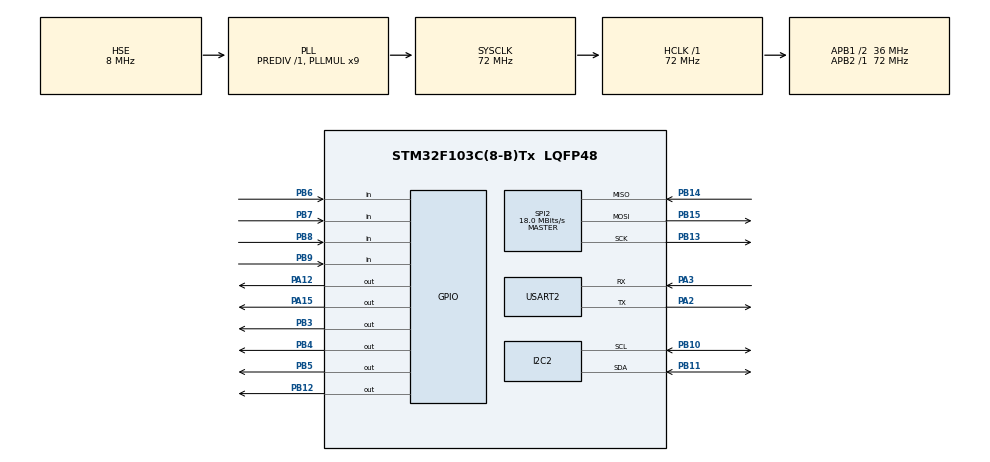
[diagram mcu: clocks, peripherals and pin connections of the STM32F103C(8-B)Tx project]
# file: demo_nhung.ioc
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FREERTOS.Tasks01=fingerprint,0,256,StartReadFinger,Default,NULL,Dynamic,NULL,NULL;rfid,-3,256,StartRFID,Default,NULL,Dynamic,NULL,NULL;keyboard,-3,128,StartTask04,Default,NULL,Dynamic,NULL,NULL
FREERTOS.configUSE_NEWLIB_REENTRANT=1
Mcu.Family=STM32F1
Mcu.Name=STM32F103C(8-B)Tx
Mcu.Package=LQFP48
NVIC.PriorityGroup=NVIC_PRIORITYGROUP_4
PA12.Signal=GPIO_Output
PA13.Mode=Serial_Wire
PA13.Signal=SYS_JTMS-SWDIO
PA14.Mode=Serial_Wire
PA14.Signal=SYS_JTCK-SWCLK
PA15.Signal=GPIO_Output
PA2.Mode=Asynchronous
PA2.Signal=USART2_TX
PA3.Mode=Asynchronous
PA3.Signal=USART2_RX
PB10.Mode=I2C
PB10.Signal=I2C2_SCL
PB11.Mode=I2C
PB11.Signal=I2C2_SDA
PB12.Signal=GPIO_Output
PB13.Mode=Full_Duplex_Master
PB13.Signal=SPI2_SCK
PB14.Mode=Full_Duplex_Master
PB14.Signal=SPI2_MISO
PB15.Mode=Full_Duplex_Master
PB15.Signal=SPI2_MOSI
PB3.Signal=GPIO_Output
PB4.Signal=GPIO_Output
PB5.Signal=GPIO_Output
PB6.Signal=GPIO_Input
PB7.Signal=GPIO_Input
PB8.Signal=GPIO_Input
PB9.Signal=GPIO_Input
PD0-OSC_IN.Mode=HSE-External-Oscillator
PD0-OSC_IN.Signal=RCC_OSC_IN
PD1-OSC_OUT.Mode=HSE-External-Oscillator
PD1-OSC_OUT.Signal=RCC_OSC_OUT
ProjectManager.HeapSize=0x200
ProjectManager.StackSize=0x400
ProjectManager.TargetToolchain=STM32CubeIDE
RCC.AHBFreq_Value=72000000
RCC.APB1CLKDivider=RCC_HCLK_DIV2
RCC.APB1Freq_Value=36000000
RCC.APB1TimFreq_Value=72000000
RCC.APB2Freq_Value=72000000
RCC.APB2TimFreq_Value=72000000
RCC.HCLKFreq_Value=72000000
RCC.PLLMUL=RCC_PLL_MUL9
RCC.PLLSourceVirtual=RCC_PLLSOURCE_HSE
RCC.SYSCLKFreq_VALUE=72000000
RCC.SYSCLKSource=RCC_SYSCLKSOURCE_PLLCLK
RCC.USBFreq_Value=72000000
SPI2.CalculateBaudRate=18.0 MBits/s
SPI2.Direction=SPI_DIRECTION_2LINES
SPI2.Mode=SPI_MODE_MASTER
SPI2.VirtualType=VM_MASTER
USART2.VirtualMode=VM_ASYNC
VP_FREERTOS_VS_CMSIS_V1.Mode=CMSIS_V1
board=custom

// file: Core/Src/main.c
/* USER CODE BEGIN Header */
/**
  ******************************************************************************
  * @file           : main.c
  * @brief          : Main program body
  ******************************************************************************
  * @attention
  *
  * Copyright (c) 2024 STMicroelectronics.
  * All rights reserved.
  *
  * This software is licensed under terms that can be found in the LICENSE file
  * in the root directory of this software component.
  * If no LICENSE file comes with this software, it is provided AS-IS.
  *
  ******************************************************************************
  */
/* USER CODE END Header */
#include "main.h"
#include "cmsis_os.h"
#include "string.h"
#include "i2c-lcd.h"
#include "rc522.h"

/* USER CODE BEGIN PTD */

#define R1_PORT GPIOA
#define R1_PIN GPIO_PIN_15

#define R2_PORT GPIOB
#define R2_PIN GPIO_PIN_3

#define R3_PORT GPIOB
#define R3_PIN GPIO_PIN_4

#define R4_PORT GPIOB
#define R4_PIN GPIO_PIN_5

#define C1_PORT GPIOB
#define C1_PIN GPIO_PIN_6

#define C2_PORT GPIOB
#define C2_PIN GPIO_PIN_7

#define C3_PORT GPIOB
#define C3_PIN GPIO_PIN_8

#define C4_PORT GPIOB
#define C4_PIN GPIO_PIN_9

/* USER CODE END PTD */

I2C_HandleTypeDef hi2c2;

SPI_HandleTypeDef hspi2;

UART_HandleTypeDef huart2;

osThreadId rfidHandle;
osThreadId keyboardHandle;

void SystemClock_Config(void);
static void MX_GPIO_Init(void);
static void MX_SPI2_Init(void);
static void MX_USART2_UART_Init(void);
static void MX_I2C2_Init(void);
void StartRFID(void const * argument);
void StartTask04(void const * argument);

/* USER CODE BEGIN 0 */
char read_keypad (void)
{
	/* Make ROW 1 LOW and all other ROWs HIGH */
	HAL_GPIO_WritePin (R1_PORT, R1_PIN, GPIO_PIN_RESET);  //Pull the R1 low
	HAL_GPIO_WritePin (R2_PORT, R2_PIN, GPIO_PIN_SET);  // Pull the R2 High
	HAL_GPIO_WritePin (R3_PORT, R3_PIN, GPIO_PIN_SET);  // Pull the R3 High
	HAL_GPIO_WritePin (R4_PORT, R4_PIN, GPIO_PIN_SET);  // Pull the R4 High

	if ((HAL_GPIO_ReadPin (C1_PORT, C1_PIN))==0)   // if the Col 1 is low
	{
		while ((HAL_GPIO_ReadPin (C1_PORT, C1_PIN))==0);   // wait till the button is pressed
		return '1';
	}

	if ((HAL_GPIO_ReadPin (C2_PORT, C2_PIN))==0)   // if the Col 2 is low
	{
		while ((HAL_GPIO_ReadPin (C2_PORT, C2_PIN))==0);   // wait till the button is pressed
		return '2';
	}

	if ((HAL_GPIO_ReadPin (C3_PORT, C3_PIN))==0)   // if the Col 3 is low
	{
		while ((HAL_GPIO_ReadPin (C3_PORT, C3_PIN))==0);   // wait till the button is pressed
		return '3';
	}

	if ((HAL_GPIO_ReadPin (C4_PORT, C4_PIN))==0)   // if the Col 4 is low
	{
		while ((HAL_GPIO_ReadPin (C4_PORT, C4_PIN))==0);   // wait till the button is pressed
		return 'A';
	}

	/* Make ROW 2 LOW and all other ROWs HIGH */
	HAL_GPIO_WritePin (R1_PORT, R1_PIN, GPIO_PIN_SET);  //Pull the R1 low
	HAL_GPIO_WritePin (R2_PORT, R2_PIN, GPIO_PIN_RESET);  // Pull the R2 High
	HAL_GPIO_WritePin (R3_PORT, R3_PIN, GPIO_PIN_SET);  // Pull the R3 High
	HAL_GPIO_WritePin (R4_PORT, R4_PIN, GPIO_PIN_SET);  // Pull the R4 High

	if ((HAL_GPIO_ReadPin (C1_PORT, C1_PIN))==0)   // if the Col 1 is low
	{
		while ((HAL_GPIO_ReadPin (C1_PORT, C1_PIN))==0);   // wait till the button is pressed
		return '4';
	}

	if ((HAL_GPIO_ReadPin (C2_PORT, C2_PIN))==0)   // if the Col 2 is low
	{
		while ((HAL_GPIO_ReadPin (C2_PORT, C2_PIN))==0);   // wait till the button is pressed
		return '5';
	}

	if ((HAL_GPIO_ReadPin (C3_PORT, C3_PIN))==0)   // if the Col 3 is low
	{
		while ((HAL_GPIO_ReadPin (C3_PORT, C3_PIN))==0);   // wait till the button is pressed
		return '6';
	}

	if ((HAL_GPIO_ReadPin (C4_PORT, C4_PIN))==0)   // if the Col 4 is low
	{
		while ((HAL_GPIO_ReadPin (C4_PORT, C4_PIN))==0);   // wait till the button is pressed
		return 'B';
	}

	/* Make ROW 3 LOW and all other ROWs HIGH */
	HAL_GPIO_WritePin (R1_PORT, R1_PIN, GPIO_PIN_SET);  //Pull the R1 low
	HAL_GPIO_WritePin (R2_PORT, R2_PIN, GPIO_PIN_SET);  // Pull the R2 High
	HAL_GPIO_WritePin (R3_PORT, R3_PIN, GPIO_PIN_RESET);  // Pull the R3 High
	HAL_GPIO_WritePin (R4_PORT, R4_PIN, GPIO_PIN_SET);  // Pull the R4 High

	if ((HAL_GPIO_ReadPin (C1_PORT, C1_PIN))==0)   // if the Col 1 is low
	{
		while ((HAL_GPIO_ReadPin (C1_PORT, C1_PIN))==0);   // wait till the button is pressed
		return '7';
	}

	if ((HAL_GPIO_ReadPin (C2_PORT, C2_PIN))==0)   // if the Col 2 is low
	{
		while ((HAL_GPIO_ReadPin (C2_PORT, C2_PIN)));   // wait till the button is pressed
		return '8';
	}

	if ((HAL_GPIO_ReadPin (C3_PORT, C3_PIN))==0)   // if the Col 3 is low
	{
		while ((HAL_GPIO_ReadPin (C3_PORT, C3_PIN))==0);   // wait till the button is pressed
		return '9';
	}

	if ((HAL_GPIO_ReadPin (C4_PORT, C4_PIN))==0)   // if the Col 4 is low
	{
		while ((HAL_GPIO_ReadPin (C4_PORT, C4_PIN))==0);   // wait till the button is pressed
		return 'C';
	}

	/* Make ROW 4 LOW and all other ROWs HIGH */
	HAL_GPIO_WritePin (R1_PORT, R1_PIN, GPIO_PIN_SET);  //Pull the R1 low
	HAL_GPIO_WritePin (R2_PORT, R2_PIN, GPIO_PIN_SET);  // Pull the R2 High
	HAL_GPIO_WritePin (R3_PORT, R3_PIN, GPIO_PIN_SET);  // Pull the R3 High
	HAL_GPIO_WritePin (R4_PORT, R4_PIN, GPIO_PIN_RESET);  // Pull the R4 High

	if ((HAL_GPIO_ReadPin (C1_PORT, C1_PIN))==0)   // if the Col 1 is low
	{
		while ((HAL_GPIO_ReadPin (C1_PORT, C1_PIN))==0);   // wait till the button is pressed
		return '*';
	}

	if ((HAL_GPIO_ReadPin (C2_PORT, C2_PIN))==0)   // if the Col 2 is low
	{
		while ((HAL_GPIO_ReadPin (C2_PORT, C2_PIN))==0);   // wait till the button is pressed
		return '0';
	}

	if ((HAL_GPIO_ReadPin (C3_PORT, C3_PIN))==0)   // if the Col 3 is low
	{
		while ((HAL_GPIO_ReadPin (C3_PORT, C3_PIN))==0);   // wait till the button is pressed
		return '#';
	}

	if ((HAL_GPIO_ReadPin (C4_PORT, C4_PIN))==0)   // if the Col 4 is low
	{
		while ((HAL_GPIO_ReadPin (C4_PORT, C4_PIN))==0);   // wait till the button is pressed
		return 'D';
	}
}

char* getInput()
{
	int count = 0;
	char *input = (char*)malloc(5*sizeof(char));

	if (input == NULL) {
	        return NULL;
	    }

	while (count < 4) {
			char ch = read_keypad();
			input[count] = ch;
			count++;
		}
	input[count] = '\0';

	return input;
}

/* USER CODE END 0 */

int main(void)
{

  /* MCU Configuration--------------------------------------------------------*/

  /* Reset of all peripherals, Initializes the Flash interface and the Systick. */
  HAL_Init();

  /* Configure the system clock */
  SystemClock_Config();

  /* Initialize all configured peripherals */
  MX_GPIO_Init();
  MX_SPI2_Init();
  MX_USART2_UART_Init();
  MX_I2C2_Init();
  /* USER CODE BEGIN 2 */
  uint8_t status;
  uint8_t str[MAX_LEN]; // Max_LEN = 16
  uint8_t sNum[5];

  /* USER CODE END 2 */
  MFRC522_Init();
  lcd_init();

  /* Create the thread(s) */
  /* definition and creation of rfid */
  osThreadDef(rfid, StartRFID, osPriorityIdle, 0, 256);
  rfidHandle = osThreadCreate(osThread(rfid), NULL);

  /* definition and creation of keyboard */
  osThreadDef(keyboard, StartTask04, osPriorityIdle, 0, 128);
  keyboardHandle = osThreadCreate(osThread(keyboard), NULL);

  /* Start scheduler */
  osKernelStart();

  /* We should never get here as control is now taken by the scheduler */
  /* Infinite loop */
  while (1)
  {

  }
}

void SystemClock_Config(void)
{
  RCC_OscInitTypeDef RCC_OscInitStruct = {0};
  RCC_ClkInitTypeDef RCC_ClkInitStruct = {0};

  /** Initializes the RCC Oscillators according to the specified parameters
  * in the RCC_OscInitTypeDef structure.
  */
  RCC_OscInitStruct.OscillatorType = RCC_OSCILLATORTYPE_HSE;
  RCC_OscInitStruct.HSEState = RCC_HSE_ON;
  RCC_OscInitStruct.HSEPredivValue = RCC_HSE_PREDIV_DIV1;
  RCC_OscInitStruct.HSIState = RCC_HSI_ON;
  RCC_OscInitStruct.PLL.PLLState = RCC_PLL_ON;
  RCC_OscInitStruct.PLL.PLLSource = RCC_PLLSOURCE_HSE;
  RCC_OscInitStruct.PLL.PLLMUL = RCC_PLL_MUL9;
  if (HAL_RCC_OscConfig(&RCC_OscInitStruct) != HAL_OK)
  {
    Error_Handler();
  }

  /** Initializes the CPU, AHB and APB buses clocks
  */
  RCC_ClkInitStruct.ClockType = RCC_CLOCKTYPE_HCLK|RCC_CLOCKTYPE_SYSCLK
                              |RCC_CLOCKTYPE_PCLK1|RCC_CLOCKTYPE_PCLK2;
  RCC_ClkInitStruct.SYSCLKSource = RCC_SYSCLKSOURCE_PLLCLK;
  RCC_ClkInitStruct.AHBCLKDivider = RCC_SYSCLK_DIV1;
  RCC_ClkInitStruct.APB1CLKDivider = RCC_HCLK_DIV2;
  RCC_ClkInitStruct.APB2CLKDivider = RCC_HCLK_DIV1;

  if (HAL_RCC_ClockConfig(&RCC_ClkInitStruct, FLASH_LATENCY_2) != HAL_OK)
  {
    Error_Handler();
  }
}

static void MX_I2C2_Init(void)
{

  hi2c2.Instance = I2C2;
  hi2c2.Init.ClockSpeed = 100000;
  hi2c2.Init.DutyCycle = I2C_DUTYCYCLE_2;
  hi2c2.Init.OwnAddress1 = 0;
  hi2c2.Init.AddressingMode = I2C_ADDRESSINGMODE_7BIT;
  hi2c2.Init.DualAddressMode = I2C_DUALADDRESS_DISABLE;
  hi2c2.Init.OwnAddress2 = 0;
  hi2c2.Init.GeneralCallMode = I2C_GENERALCALL_DISABLE;
  hi2c2.Init.NoStretchMode = I2C_NOSTRETCH_DISABLE;
  if (HAL_I2C_Init(&hi2c2) != HAL_OK)
  {
    Error_Handler();
  }

}

static void MX_SPI2_Init(void)
{

  /* SPI2 parameter configuration*/
  hspi2.Instance = SPI2;
  hspi2.Init.Mode = SPI_MODE_MASTER;
  hspi2.Init.Direction = SPI_DIRECTION_2LINES;
  hspi2.Init.DataSize = SPI_DATASIZE_8BIT;
  hspi2.Init.CLKPolarity = SPI_POLARITY_LOW;
  hspi2.Init.CLKPhase = SPI_PHASE_1EDGE;
  hspi2.Init.NSS = SPI_NSS_SOFT;
  hspi2.Init.BaudRatePrescaler = SPI_BAUDRATEPRESCALER_2;
  hspi2.Init.FirstBit = SPI_FIRSTBIT_MSB;
  hspi2.Init.TIMode = SPI_TIMODE_DISABLE;
  hspi2.Init.CRCCalculation = SPI_CRCCALCULATION_DISABLE;
  hspi2.Init.CRCPolynomial = 10;
  if (HAL_SPI_Init(&hspi2) != HAL_OK)
  {
    Error_Handler();
  }

}

static void MX_USART2_UART_Init(void)
{

  huart2.Instance = USART2;
  huart2.Init.BaudRate = 115200;
  huart2.Init.WordLength = UART_WORDLENGTH_8B;
  huart2.Init.StopBits = UART_STOPBITS_1;
  huart2.Init.Parity = UART_PARITY_NONE;
  huart2.Init.Mode = UART_MODE_TX_RX;
  huart2.Init.HwFlowCtl = UART_HWCONTROL_NONE;
  huart2.Init.OverSampling = UART_OVERSAMPLING_16;
  if (HAL_UART_Init(&huart2) != HAL_OK)
  {
    Error_Handler();
  }

}

static void MX_GPIO_Init(void)
{
  GPIO_InitTypeDef GPIO_InitStruct = {0};

  /* GPIO Ports Clock Enable */
  __HAL_RCC_GPIOD_CLK_ENABLE();
  __HAL_RCC_GPIOA_CLK_ENABLE();
  __HAL_RCC_GPIOB_CLK_ENABLE();

  /*Configure GPIO pin Output Level */
  HAL_GPIO_WritePin(GPIOB, GPIO_PIN_12|GPIO_PIN_3|GPIO_PIN_4|GPIO_PIN_5, GPIO_PIN_RESET);

  /*Configure GPIO pin Output Level */
  HAL_GPIO_WritePin(GPIOA, GPIO_PIN_12|GPIO_PIN_15, GPIO_PIN_RESET);

  /*Configure GPIO pins : PB12 PB3 PB4 PB5 */
  GPIO_InitStruct.Pin = GPIO_PIN_12|GPIO_PIN_3|GPIO_PIN_4|GPIO_PIN_5;
  GPIO_InitStruct.Mode = GPIO_MODE_OUTPUT_PP;
  GPIO_InitStruct.Pull = GPIO_NOPULL;
  GPIO_InitStruct.Speed = GPIO_SPEED_FREQ_LOW;
  HAL_GPIO_Init(GPIOB, &GPIO_InitStruct);

  /*Configure GPIO pins : PA12 PA15 */
  GPIO_InitStruct.Pin = GPIO_PIN_12|GPIO_PIN_15;
  GPIO_InitStruct.Mode = GPIO_MODE_OUTPUT_PP;
  GPIO_InitStruct.Pull = GPIO_NOPULL;
  GPIO_InitStruct.Speed = GPIO_SPEED_FREQ_LOW;
  HAL_GPIO_Init(GPIOA, &GPIO_InitStruct);

  /*Configure GPIO pins : PB6 PB7 PB8 PB9 */
  GPIO_InitStruct.Pin = GPIO_PIN_6|GPIO_PIN_7|GPIO_PIN_8|GPIO_PIN_9;
  GPIO_InitStruct.Mode = GPIO_MODE_INPUT;
  GPIO_InitStruct.Pull = GPIO_NOPULL;
  HAL_GPIO_Init(GPIOB, &GPIO_InitStruct);

}

/* USER CODE BEGIN 4 */
void update1(int data, int field)	// Hàm này còn chưa sửa xong
{
	int size=0;
	char sendBuff[100]={0};
	char sendBuff1[100]={0};
	char sendBuff2[100]={0};
	char sendBuff3[100]={0};
	char sendBuff4[100]={0};

	sprintf(sendBuff, "AT+RST\r\n");
	HAL_UART_Transmit(&huart2, (uint8_t *)sendBuff, sizeof(sendBuff), 1000);
	HAL_Delay(8000);
	sprintf(sendBuff1, "AT\r\n");
	HAL_UART_Transmit(&huart2, (uint8_t *)sendBuff1, sizeof(sendBuff1), 1000);
	HAL_Delay(1000);

	sprintf(sendBuff2, "AT+CWMODE=1\r\n");
	HAL_UART_Transmit(&huart2, (uint8_t *)sendBuff2, sizeof(sendBuff2), 1000);
	HAL_Delay(1000);

	sprintf(sendBuff3, "AT+CWJAP=\"%s\",\"%s\"\r\n", "Redmi Note 8", "123running");
	HAL_UART_Transmit(&huart2, (uint8_t *)sendBuff3, sizeof(sendBuff3), 1000);
	HAL_Delay(8000);

	sprintf(sendBuff4, "AT+CIPMUX=1\r\n");
	HAL_UART_Transmit(&huart2, (uint8_t *)sendBuff4, sizeof(sendBuff4), 1000);
	HAL_Delay(1000);

	sprintf(sendBuff, "AT+CIPSTART=3,\"TCP\",\"184.106.153.149\",80\r\n");
	HAL_UART_Transmit(&huart2, (uint8_t *)sendBuff, sizeof(sendBuff), 1000);
	HAL_Delay(1000);
	if (data<10000){
		size=50;
		if (data<1000){
			size=49;
			if (data<100){
				size=48;
				if (data<10){
					size=47;
				}
			}
		}
	}
	sprintf(sendBuff, "GET /update?api_key=6WNEUAHZ46JO8MKA&field%d=%d\r\n", field, data);  //tao du lieu can truyen
	sprintf(sendBuff2, "AT+CIPSEND=3,%d\r\n",size); //tao lenh khai bao do dai du lieu
	HAL_UART_Transmit(&huart2, (uint8_t *)sendBuff2, sizeof(sendBuff2), 1000);
	HAL_Delay(1000);
	HAL_UART_Transmit(&huart2, (uint8_t *)sendBuff, sizeof(sendBuff), 1000);
	HAL_Delay(1000);
}
/* USER CODE END 4 */

void StartRFID(void const * argument)
{
  for(;;)
  {
    osDelay(1);
  }
}

void StartTask04(void const * argument)
{
  /* USER CODE BEGIN StartTask04 */
char inputBuffer[32];
uint8_t inputLength = 0;
  /* Infinite loop */
  for(;;)
  {
	char* input = getInput();
	if (input != NULL) {

		//update1(input , 1);		// Đang chờ sửa hàm update1

		free(input);
	}
    osDelay(5000);
  }
  /* USER CODE END StartTask04 */
}

void Error_Handler(void)
{
  __disable_irq();
  while (1)
  {
  }
}
